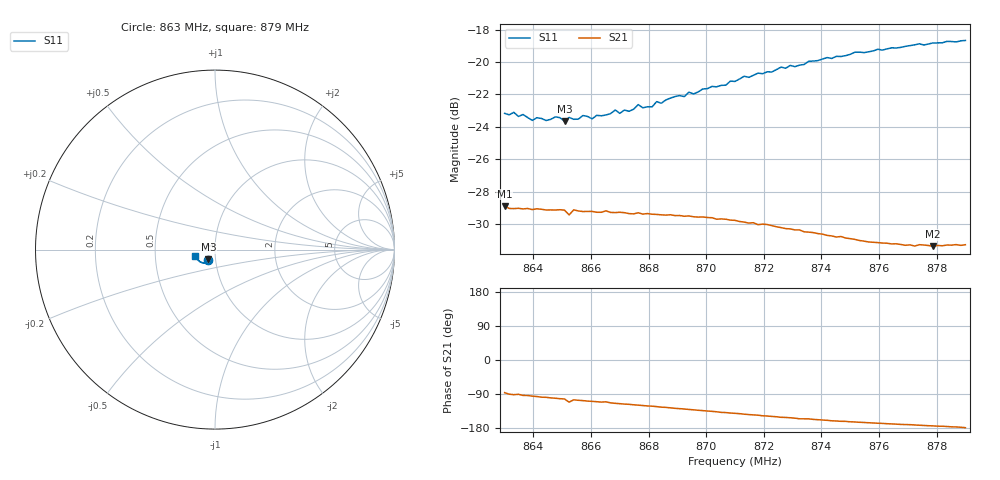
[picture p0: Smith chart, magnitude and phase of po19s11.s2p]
# HZ S RI R 50
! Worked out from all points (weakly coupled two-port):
!   101 points, 863 MHz to 879 MHz, reference 50 ohm
!   highest |S21| = -28.89 dB at 863 MHz (marker M1); lowest = -31.4 dB at 877.88 MHz (marker M2)
!   lowest |S11| = -23.7 dB at 865.08 MHz (marker M3), VSWR 1.14, Z = 46.2 - j5.07 ohm
!   |S11| at or under -10 dB: start of sweep to end of sweep
!   S12 and S22 are empty: the file has one direction only
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8.63e8  -0.0416 -0.0556  0.00238 -0.0359  0 0  0 0
8.6364e8  -0.0438 -0.0532  -0.00217 -0.0351  0 0  0 0
8.6396e8  -0.0385 -0.0537  -0.00333 -0.0349  0 0  0 0
8.6476e8  -0.0389 -0.0554  -0.00662 -0.0343  0 0  0 0
8.6508e8  -0.0365 -0.0546  -0.00778 -0.034  0 0  0 0
8.6524e8  -0.0374 -0.0561  -0.0122 -0.0314  0 0  0 0
8.654e8  -0.0358 -0.0561  -0.00908 -0.0338  0 0  0 0
8.6572e8  -0.0366 -0.0578  -0.0102 -0.033  0 0  0 0
8.6604e8  -0.0345 -0.0572  -0.0114 -0.0327  0 0  0 0
8.6684e8  -0.0356 -0.0615  -0.0142 -0.0312  0 0  0 0
8.67e8  -0.0349 -0.0601  -0.0146 -0.0311  0 0  0 0
8.6732e8  -0.0357 -0.0608  -0.0154 -0.0303  0 0  0 0
8.6764e8  -0.0366 -0.0642  -0.0167 -0.0299  0 0  0 0
8.678e8  -0.0353 -0.063  -0.0171 -0.0293  0 0  0 0
8.6844e8  -0.0368 -0.0649  -0.0191 -0.0278  0 0  0 0
8.694e8  -0.0407 -0.0697  -0.0217 -0.0255  0 0  0 0
8.71e8  -0.0482 -0.0726  -0.0251 -0.0205  0 0  0 0
8.7132e8  -0.0505 -0.075  -0.0256 -0.0193  0 0  0 0
8.7372e8  -0.0678 -0.0745  -0.0273 -0.0118  0 0  0 0
8.7644e8  -0.0921 -0.0613  -0.0269 -0.00539  0 0  0 0
8.7788e8  -0.1037 -0.0488  -0.0268 -0.00287  0 0  0 0
8.79e8  -0.1101 -0.0384  -0.0273 -0.000645  0 0  0 0
